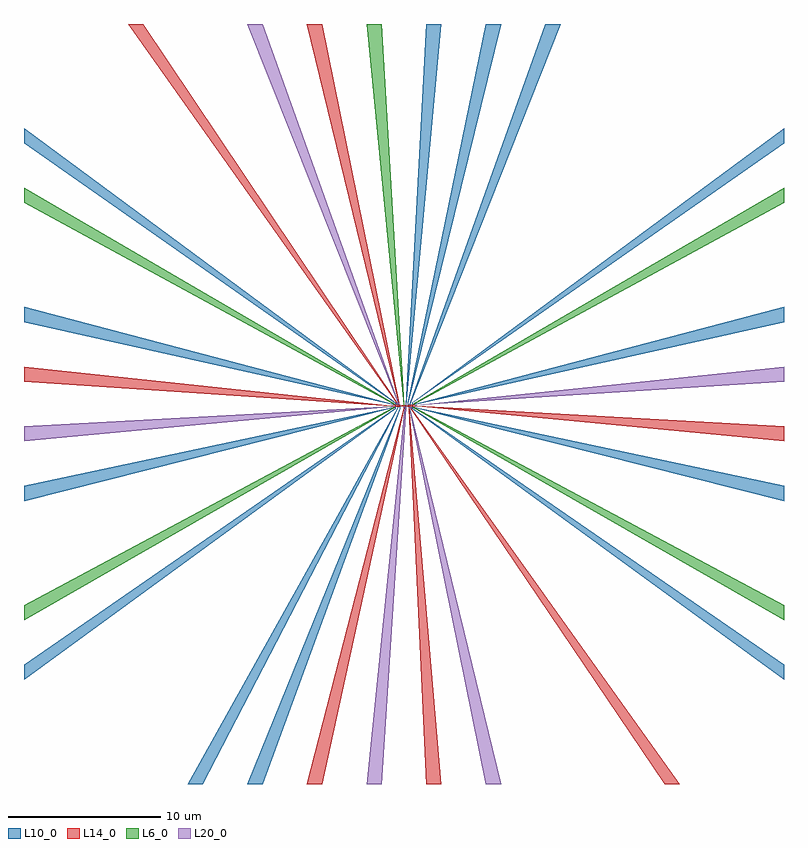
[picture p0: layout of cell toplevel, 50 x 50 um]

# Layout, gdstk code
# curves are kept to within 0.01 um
import gdstk
lib = gdstk.Library(unit=1e-6, precision=1e-09)
def P(c, l, *ps):  # polygons
    for p in ps: c.add(gdstk.Polygon(p, *l))
L6_0 = (6, 0)
L10_0 = (10, 0)
L14_0 = (14, 0)
L20_0 = (20, 0)

toplevel = lib.new_cell('toplevel')
P(toplevel, L6_0, [(0.03,0.074),(-1.462,25.12),(-2.462,25.12),(-0.03,0.074),(-0.03,0.044),(0.03,0.044)],
  [(25,13.351),(25,14.351),(0.616,0.138),(0.616,0.108),(0.676,0.108)],
  [(-0.616,0.138),(-25,14.351),(-25,13.351),(-0.676,0.108),(-0.616,0.108)],
  [(-0.616,-0.138),(-0.616,-0.108),(-0.676,-0.108),(-25,-13.111),(-25,-14.111)],
  [(25,-13.111),(0.676,-0.108),(0.616,-0.108),(0.616,-0.138),(25,-14.111)])
P(toplevel, L10_0, [(0.418,0.12),(10.308,25.12),(9.308,25.12),(0.388,0.14),(0.388,-0.06),(0.418,-0.06)],
  [(0.276,0.18),(6.385,25.12),(5.385,25.12),(0.246,0.19),(0.246,-0.06),(0.276,-0.06)],
  [(2.462,25.12),(1.462,25.12),(0.12,0.052),(-0.12,0.052),(-0.12,0.022),(0.15,0.022)],
  [(-0.53,-0.188),(-0.53,0.188),(-25,18.274),(-25,17.274),(-0.56,0.168),(-0.56,-0.168),(-25,-17.034),(-25,-18.034)],
  [(25,-17.034),(0.56,-0.168),(0.56,0.192),(25,17.274),(25,18.274),(0.53,0.212),(0.53,-0.188),(25,-18.034)],
  [(25,5.505),(25,6.505),(0.688,0.116),(0.604,0.116),(0.604,0.086),(0.708,0.086)],
  [(-0.604,0.116),(-0.688,0.116),(-25,6.505),(-25,5.505),(-0.708,0.086),(-0.604,0.086)],
  [(-0.246,-0.19),(-0.246,0.06),(-0.276,0.06),(-0.276,-0.18),(-10.308,-24.88),(-9.308,-24.88)],
  [(-0.388,-0.14),(-0.388,0.06),(-0.418,0.06),(-0.418,-0.12),(-14.231,-24.88),(-13.231,-24.88)],
  [(25,-5.265),(0.708,-0.086),(0.604,-0.086),(0.604,-0.116),(0.688,-0.116),(25,-6.265)],
  [(-0.688,-0.116),(-0.604,-0.116),(-0.604,-0.086),(-0.708,-0.086),(-25,-5.265),(-25,-6.265)])
P(toplevel, L14_0, [(-0.473,-0.06),(-0.436,-0.047),(-0.414,-0.007),(-0.424,0.034),(-0.459,0.058),(-0.459,0.196),(-17.154,25.12),(-18.154,25.12),(-0.489,0.176),(-0.489,0.058),(-0.524,0.034),(-0.534,-0.007),(-0.512,-0.047)],
  [(-0.331,-0.06),(-0.282,-0.034),(-0.274,0.017),(-0.317,0.058),(-0.317,0.186),(-5.385,25.12),(-6.385,25.12),(-0.347,0.176),(-0.347,0.058),(-0.382,0.034),(-0.39,-0.017),(-0.366,-0.05)],
  [(-0.644,-0.09),(-0.583,-0.065),(-0.556,-0.009),(-0.576,0.057),(-0.637,0.09),(-0.698,0.074),(-0.735,0.015),(-0.852,0.015),(-25,2.582),(-25,1.582),(-0.735,-0.015),(-0.703,-0.07)],
  [(25,-1.342),(0.735,0.015),(0.709,0.065),(0.655,0.09),(0.589,0.07),(0.556,0.009),(0.576,-0.057),(0.637,-0.09),(0.698,-0.074),(0.735,-0.015),(0.852,-0.015),(25,-2.342)],
  [(0.347,-0.176),(0.347,-0.058),(0.382,-0.034),(0.389,0.02),(0.366,0.05),(0.315,0.058),(0.282,0.034),(0.272,-0.007),(0.285,-0.038),(0.317,-0.058),(1.462,-24.88),(2.462,-24.88)],
  [(0.489,-0.176),(0.489,-0.058),(0.531,-0.02),(0.524,0.034),(0.467,0.06),(0.436,0.047),(0.416,0.017),(0.424,-0.034),(0.459,-0.058),(0.459,-0.196),(17.154,-24.88),(18.154,-24.88)],
  [(0.015,-0.146),(0.015,-0.03),(0.202,-0.018),(0.247,-0.004),(0.24,0.008),(-0.045,0.03),(-0.202,0.018),(-0.25,0),(-0.188,-0.02),(-0.015,-0.03),(-0.015,-0.146),(-6.385,-24.88),(-5.385,-24.88)])
P(toplevel, L20_0, [(-0.312,0.165),(-0.388,0.165),(-0.388,0.245),(-9.308,25.12),(-10.308,25.12),(-0.418,0.225),(-0.418,0.165),(-0.494,0.165),(-0.494,0.105),(-0.312,0.105)],
  [(0.804,0.024),(25,1.582),(25,2.582),(0.744,0.054),(0.744,-0.036),(0.774,-0.036)],
  [(-0.744,-0.054),(-0.744,0.036),(-0.774,0.036),(-0.804,-0.024),(-25,-1.342),(-25,-2.342)],
  [(0.142,-0.124),(0.142,-0.046),(-0.062,-0.046),(-0.062,-0.088),(0.062,-0.124),(-2.462,-24.88),(-1.462,-24.88)],
  [(0.418,-0.225),(0.418,-0.165),(0.494,-0.165),(0.494,-0.105),(0.312,-0.105),(0.312,-0.165),(0.388,-0.165),(0.388,-0.245),(5.385,-24.88),(6.385,-24.88)])

lib.write_gds('toplevel.gds')
